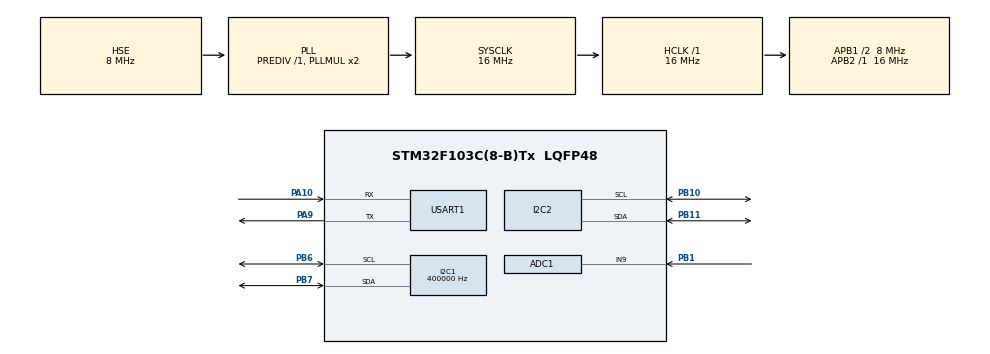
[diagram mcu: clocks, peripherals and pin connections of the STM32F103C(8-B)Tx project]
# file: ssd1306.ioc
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ADC1.Channel-0\#ChannelRegularConversion=ADC_CHANNEL_9
ADC1.NbrOfConversionFlag=1
ADC1.Rank-0\#ChannelRegularConversion=1
ADC1.SamplingTime-0\#ChannelRegularConversion=ADC_SAMPLETIME_1CYCLE_5
ADC1.master=1
I2C1.ClockSpeed=400000
I2C1.I2C_Mode=I2C_Fast
I2C2.I2C_Mode=I2C_Fast
Mcu.Family=STM32F1
Mcu.Name=STM32F103C(8-B)Tx
Mcu.Package=LQFP48
NVIC.PriorityGroup=NVIC_PRIORITYGROUP_4
NVIC.USART1_IRQn=true\:0\:0\:false\:false\:true\:true\:true
PA10.Mode=Asynchronous
PA10.Signal=USART1_RX
PA13.Mode=Serial_Wire
PA13.Signal=SYS_JTMS-SWDIO
PA14.Mode=Serial_Wire
PA14.Signal=SYS_JTCK-SWCLK
PA9.Mode=Asynchronous
PA9.Signal=USART1_TX
PB1.Signal=ADCx_IN9
PB10.Mode=I2C
PB10.Signal=I2C2_SCL
PB11.Mode=I2C
PB11.Signal=I2C2_SDA
PB6.Mode=I2C
PB6.Signal=I2C1_SCL
PB7.Mode=I2C
PB7.Signal=I2C1_SDA
PD0-OSC_IN.Mode=HSE-External-Oscillator
PD0-OSC_IN.Signal=RCC_OSC_IN
PD1-OSC_OUT.Mode=HSE-External-Oscillator
PD1-OSC_OUT.Signal=RCC_OSC_OUT
ProjectManager.HeapSize=0x400
ProjectManager.StackSize=0x200
ProjectManager.TargetToolchain=MDK-ARM V5
RCC.AHBFreq_Value=16000000
RCC.APB1CLKDivider=RCC_HCLK_DIV2
RCC.APB1Freq_Value=8000000
RCC.APB1TimFreq_Value=16000000
RCC.APB2Freq_Value=16000000
RCC.APB2TimFreq_Value=16000000
RCC.HCLKFreq_Value=16000000
RCC.PLLSourceVirtual=RCC_PLLSOURCE_HSE
RCC.SYSCLKFreq_VALUE=16000000
RCC.SYSCLKSource=RCC_SYSCLKSOURCE_PLLCLK
RCC.USBFreq_Value=16000000
SH.ADCx_IN9.0=ADC1_IN9,IN9
USART1.VirtualMode=VM_ASYNC
board=ssd1306

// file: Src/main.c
/* USER CODE BEGIN Header */
/**
  ******************************************************************************
  * @file           : main.c
  * @brief          : Main program body
  ******************************************************************************
  * @attention
  *
  * <h2><center>&copy; Copyright (c) 2019 STMicroelectronics.
  * All rights reserved.</center></h2>
  *
  * This software component is licensed by ST under BSD 3-Clause license,
  * the "License"; You may not use this file except in compliance with the
  * License. You may obtain a copy of the License at:
  *                        opensource.org/licenses/BSD-3-Clause
  *
  ******************************************************************************
  */
/* USER CODE END Header */

#include "main.h"
#include "adc.h"
#include "i2c.h"
#include "usart.h"
#include "gpio.h"
#include "fonts.h"
#include "ssd1306.h"

void SystemClock_Config(void);

void Logo(int renderTime)
{
	SSD1306_Fill(SSD1306_COLOR_BLACK);
SSD1306_UpdateScreen();
HAL_Delay(renderTime);
for (int i = 0; i < 35; i++)
{
		SSD1306_DrawFilledCircle(64, 32, i*2, SSD1306_COLOR_WHITE);
	SSD1306_UpdateScreen();
HAL_Delay(renderTime);
}
for (int i = 0; i < 30; i++)
{
		SSD1306_DrawFilledCircle(64, 32, i*2, SSD1306_COLOR_BLACK);
	SSD1306_UpdateScreen();
HAL_Delay(renderTime);
}
for (int i = 0; i < 25; i++)
{
		SSD1306_DrawFilledCircle(64, 32, i*2, SSD1306_COLOR_WHITE);
	SSD1306_UpdateScreen();
HAL_Delay(renderTime);
}
for (int i = 0; i < 20; i++)
{
		SSD1306_DrawFilledCircle(64, 32, i*2, SSD1306_COLOR_BLACK);
	SSD1306_UpdateScreen();
HAL_Delay(renderTime);
}
for (int i = 0; i < 15; i++)
{
		SSD1306_DrawFilledCircle(64, 32, i*2, SSD1306_COLOR_WHITE);
	SSD1306_UpdateScreen();
HAL_Delay(renderTime);
}
for (int i = 0; i < 25; i++)
{
		SSD1306_DrawFilledCircle(64, 32, i*2, SSD1306_COLOR_BLACK);
	SSD1306_UpdateScreen();
HAL_Delay(renderTime);
}

SSD1306_GotoXY ( 28,4);
SSD1306_Puts("Start", &Font_11x18,SSD1306_COLOR_WHITE);
SSD1306_GotoXY ( 56,24);
SSD1306_Puts("Quit", &Font_11x18,SSD1306_COLOR_WHITE);
SSD1306_GotoXY ( 64,48);
SSD1306_Puts("0x02SG", &Font_7x10, SSD1306_COLOR_WHITE);
SSD1306_UpdateScreen();
HAL_Delay(2000);
SSD1306_DrawLine(28,20, 82,20, SSD1306_COLOR_WHITE);
SSD1306_UpdateScreen();
HAL_Delay(2000);

SSD1306_Fill(SSD1306_COLOR_BLACK);
SSD1306_UpdateScreen();
HAL_Delay(1000);
SSD1306_GotoXY ( 36,16);
SSD1306_Puts("LOADING", &Font_7x10,SSD1306_COLOR_WHITE);
SSD1306_UpdateScreen();
HAL_Delay(4000);
}

void GameOver(int renderTime)
{

				for (int i = 0; i < 35; i++)
			{
			SSD1306_DrawFilledCircle(64, 32, i*2, SSD1306_COLOR_BLACK);
			SSD1306_UpdateScreen();
			HAL_Delay(renderTime);
			}
			HAL_Delay(2000);
			SSD1306_GotoXY ( 32,32);
		SSD1306_Puts("GAME OVER", &Font_7x10,SSD1306_COLOR_WHITE);
			SSD1306_UpdateScreen();
			HAL_Delay(2000);
			for (int i = 0 ; i< 20; i++)
			{
			SSD1306_DrawLine(1,31+i,127,31+i,SSD1306_COLOR_BLACK);
				SSD1306_UpdateScreen();
			HAL_Delay(2*renderTime);
							SSD1306_DrawLine(1,34+i,127,34+i,SSD1306_COLOR_BLACK);
				SSD1306_UpdateScreen();
			HAL_Delay(2*renderTime);
							SSD1306_DrawLine(1,39+i,127,39+i,SSD1306_COLOR_BLACK);
				SSD1306_UpdateScreen();
			HAL_Delay(2*renderTime);
			}
			HAL_Delay(1000);
}

void Explosion(int renderTime, int x, int y)
{
	for (int i = 0; i < 5; i++)
			{
			SSD1306_DrawFilledCircle(x, y, i*2, SSD1306_COLOR_WHITE);
			SSD1306_UpdateScreen();
			HAL_Delay(renderTime);
			}
			for (int i = 0; i < 5; i++)
			{
			SSD1306_DrawFilledCircle(x, y, i*2, SSD1306_COLOR_BLACK);
			SSD1306_UpdateScreen();
			HAL_Delay(renderTime);
			}
			for (int i = 0; i < 3; i++)
			{
			SSD1306_DrawFilledCircle(x, y, i*2, SSD1306_COLOR_WHITE);
			SSD1306_UpdateScreen();
			HAL_Delay(renderTime);
			}
			for (int i = 0; i < 3; i++)
			{
			SSD1306_DrawFilledCircle(x, y, i*2, SSD1306_COLOR_BLACK);
			SSD1306_UpdateScreen();
			HAL_Delay(renderTime);
			}
						for (int i = 0; i < 3; i++)
			{
			SSD1306_DrawFilledCircle(x, y, i, SSD1306_COLOR_WHITE);
			SSD1306_UpdateScreen();
			HAL_Delay(2*renderTime);
			}
						for (int i = 0; i < 3; i++)
			{
			SSD1306_DrawFilledCircle(x, y, i, SSD1306_COLOR_BLACK);
			SSD1306_UpdateScreen();
			HAL_Delay(2*renderTime);
			}
}

int main(void)
{

  /* MCU Configuration--------------------------------------------------------*/

  /* Reset of all peripherals, Initializes the Flash interface and the Systick. */
  HAL_Init();

  /* Configure the system clock */
  SystemClock_Config();

  /* Initialize all configured peripherals */
  MX_GPIO_Init();
  MX_I2C1_Init();
  MX_USART1_UART_Init();
  MX_ADC1_Init();
  MX_I2C2_Init();
  /* USER CODE BEGIN 2 */

		uint8_t res = SSD1306_Init();
		int renderTime = 5;
		HAL_ADC_Start(&hadc1);
		srand(HAL_ADC_GetValue(&hadc1));
//print animation
Logo(renderTime);

int ship[8][8] = {{0,0,0,0,0,1,1,0},{0,0,0,1,1,1,1,0},{0,0,0,1,0,1,0,1}, {0,0,0,0,1,1,0,1},{0,0,0,0,0,1,0,1}, {0,0,0,0,0,1,0,1}, {0,0,0,0,0,1,0,1},{0,0,0,0,0,0,1,1}};
int place = 0;
int starsX[30];
int starsY[30];
int speed = 1;
int x = 12;
int y = 16;
int rocksX[16];
int rocksY[16];

	for (int i=0; i < 30; i++)
	{
		starsX[i] = rand()%128;
		starsY[i] = rand()%64;
	}
	for (int i=0; i < 4; i++)
	{
		rocksX[i] = rand()%120;
		rocksY[i] = rand()%60;
	}

  /* USER CODE END 2 */

  /* Infinite loop */
  while (1)
  {
		SSD1306_Fill(SSD1306_COLOR_BLACK);

		HAL_Delay(renderTime);

		for (int i=0; i< 30; i++)
			{
				if (starsX[i] > 0) SSD1306_DrawFilledCircle(starsX[i], starsY[i], 1, SSD1306_COLOR_WHITE);
				else
					{
						starsX[i] = 128;
						starsY[i] = rand()%64;
					}

			}
		for (int i=0;i < 30; i++)
			{
				starsX[i] -= speed;
			}
		for (int i=0; i< 4; i++)
			{
				if (rocksX[i] > 4)
					{
						SSD1306_DrawFilledCircle(rocksX[i], rocksY[i], 4, SSD1306_COLOR_BLACK);
						SSD1306_DrawFilledCircle(rocksX[i], rocksY[i], 3, SSD1306_COLOR_WHITE);
					}
				else
					{
						rocksX[i] = 124;
						rocksY[i] = rand()%60;
					}

			}

		for (int i=0;i < 4; i++)
		{
			rocksX[i] -= speed;
			if (rocksX[i] <= x)
				{
				if ((rocksY[i] == y) || (rocksY[i] == y+2) || (rocksY[i] == y-2))
					{
						Explosion(renderTime, x,y);
						HAL_Delay(2000);
						GameOver(renderTime);
						NVIC_SystemReset();
					}
				}
		}

		for (int i=0;i< 8; i++)
		{
			for(int j = 0; j < 8; j++)
			{
				if (ship[i][j] == 1) SSD1306_DrawPixel(i+x,j+y,SSD1306_COLOR_WHITE);
			}
		}

		if (place < 64) place++;
		else place = 0;

	//control
	HAL_ADC_Start(&hadc1);
		if (HAL_ADC_GetValue(&hadc1) < 2000 && y < 56)
		{
			y++;
		}
		if ( HAL_ADC_GetValue(&hadc1) > 2500 && y > 4)
		{
			y--;
		}

	SSD1306_UpdateScreen();
  }
}

void SystemClock_Config(void)
{
  RCC_OscInitTypeDef RCC_OscInitStruct = {0};
  RCC_ClkInitTypeDef RCC_ClkInitStruct = {0};
  RCC_PeriphCLKInitTypeDef PeriphClkInit = {0};

  /** Initializes the CPU, AHB and APB busses clocks
  */
  RCC_OscInitStruct.OscillatorType = RCC_OSCILLATORTYPE_HSE;
  RCC_OscInitStruct.HSEState = RCC_HSE_ON;
  RCC_OscInitStruct.HSEPredivValue = RCC_HSE_PREDIV_DIV1;
  RCC_OscInitStruct.HSIState = RCC_HSI_ON;
  RCC_OscInitStruct.PLL.PLLState = RCC_PLL_ON;
  RCC_OscInitStruct.PLL.PLLSource = RCC_PLLSOURCE_HSE;
  RCC_OscInitStruct.PLL.PLLMUL = RCC_PLL_MUL2;
  if (HAL_RCC_OscConfig(&RCC_OscInitStruct) != HAL_OK)
  {
    Error_Handler();
  }
  /** Initializes the CPU, AHB and APB busses clocks
  */
  RCC_ClkInitStruct.ClockType = RCC_CLOCKTYPE_HCLK|RCC_CLOCKTYPE_SYSCLK
                              |RCC_CLOCKTYPE_PCLK1|RCC_CLOCKTYPE_PCLK2;
  RCC_ClkInitStruct.SYSCLKSource = RCC_SYSCLKSOURCE_PLLCLK;
  RCC_ClkInitStruct.AHBCLKDivider = RCC_SYSCLK_DIV1;
  RCC_ClkInitStruct.APB1CLKDivider = RCC_HCLK_DIV2;
  RCC_ClkInitStruct.APB2CLKDivider = RCC_HCLK_DIV1;

  if (HAL_RCC_ClockConfig(&RCC_ClkInitStruct, FLASH_LATENCY_0) != HAL_OK)
  {
    Error_Handler();
  }
  PeriphClkInit.PeriphClockSelection = RCC_PERIPHCLK_ADC;
  PeriphClkInit.AdcClockSelection = RCC_ADCPCLK2_DIV2;
  if (HAL_RCCEx_PeriphCLKConfig(&PeriphClkInit) != HAL_OK)
  {
    Error_Handler();
  }
}

void Error_Handler(void)
{
}

/************************ (C) COPYRIGHT STMicroelectronics *****END OF FILE****/
